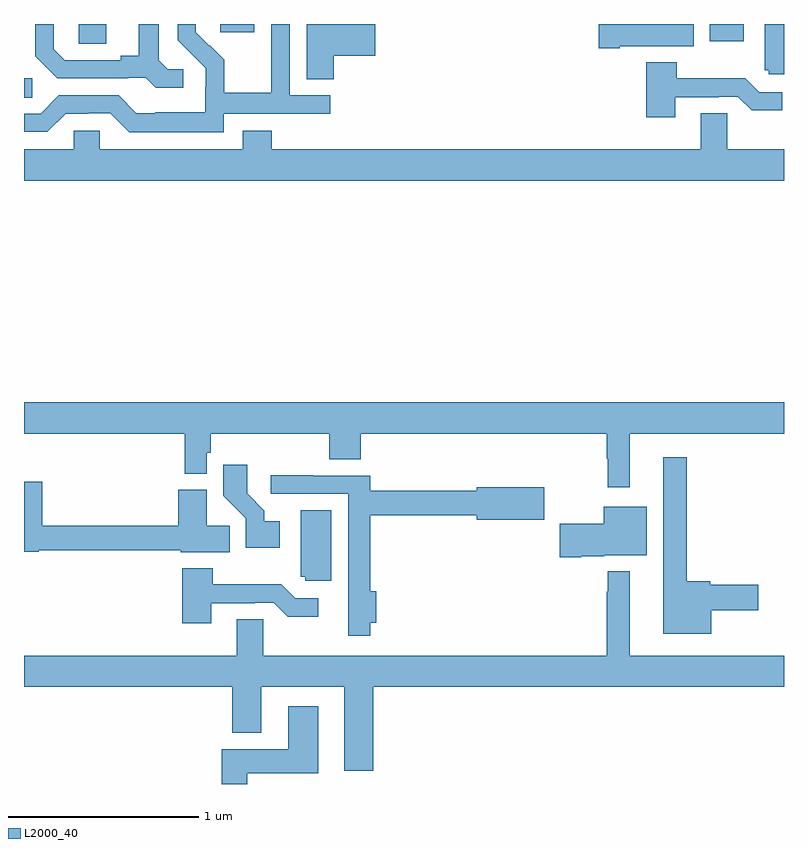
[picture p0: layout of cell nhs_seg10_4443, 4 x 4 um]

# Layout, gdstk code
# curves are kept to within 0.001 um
import gdstk
lib = gdstk.Library(unit=1e-6, precision=1e-09)
def R(c, l, rs):  # rectangles x0, y0, x1, y1
    for r in rs: c.add(gdstk.rectangle(r[:2], r[2:], *l))
def P(c, l, *ps):  # polygons
    for p in ps: c.add(gdstk.Polygon(p, *l))
L2000_40 = (2000, 40)

nhs_seg10_4443 = lib.new_cell('nhs_seg10_4443')
R(nhs_seg10_4443, L2000_40, [(363,1274.113,363.043,1274.214), (363.288,1274.395,363.433,1274.5), (366.609,1274.408,366.787,1274.5), (364.034,1274.457,364.213,1274.5)])
P(nhs_seg10_4443, L2000_40, [(364.05,1274.028),(364.612,1274.028),(364.612,1274.124),(364.398,1274.124),(364.398,1274.5),(364.302,1274.5),(364.302,1274.36),(364.3,1274.36),(364.3,1274.137),(364.055,1274.137),(364.055,1274.311),(363.978,1274.388),(363.975,1274.385),(363.905,1274.456),(363.905,1274.5),(363.81,1274.5),(363.81,1274.414),(363.956,1274.266),(363.956,1274.169),(363.954,1274.169),(363.954,1274.035),(363.691,1274.035),(363.691,1274.031),(363.591,1274.031),(363.498,1274.124),(363.183,1274.124),(363.087,1274.028),(363,1274.028),(363,1273.932),(363.123,1273.932),(363.219,1274.028),(363.338,1274.028),(363.338,1274.031),(363.453,1274.031),(363.553,1273.931),(364.05,1273.931)],
  [(366.136,1274.384),(366.524,1274.384),(366.524,1274.5),(366.024,1274.5),(366.024,1274.372),(366.136,1274.372)],
  [(367,1274.5),(366.899,1274.5),(366.899,1274.256),(366.921,1274.256),(366.921,1274.235),(367,1274.235)],
  [(364.631,1274.333),(364.849,1274.333),(364.849,1274.5),(364.487,1274.5),(364.487,1274.209),(364.631,1274.209)],
  [(363.838,1274.262),(363.756,1274.262),(363.709,1274.309),(363.709,1274.5),(363.605,1274.5),(363.605,1274.333),(363.509,1274.333),(363.509,1274.31),(363.214,1274.31),(363.157,1274.367),(363.157,1274.5),(363.06,1274.5),(363.06,1274.33),(363.176,1274.214),(363.548,1274.214),(363.548,1274.217),(363.642,1274.217),(363.694,1274.165),(363.838,1274.165)],
  [(366.427,1274.115),(366.656,1274.115),(366.656,1274.118),(366.756,1274.118),(366.829,1274.045),(366.991,1274.045),(366.991,1274.142),(366.87,1274.142),(366.797,1274.215),(366.435,1274.215),(366.435,1274.299),(366.275,1274.299),(366.275,1274.01),(366.427,1274.01)],
  [(367,1273.84),(366.702,1273.84),(366.702,1274.03),(366.563,1274.03),(366.563,1273.84),(364.304,1273.84),(364.304,1273.939),(364.151,1273.939),(364.151,1273.84),(363.399,1273.84),(363.399,1273.938),(363.261,1273.938),(363.261,1273.84),(363,1273.84),(363,1273.676),(367,1273.676)],
  [(366.187,1272.344),(367,1272.344),(367,1272.508),(363,1272.508),(363,1272.344),(363.847,1272.344),(363.847,1272.134),(363.963,1272.134),(363.963,1272.243),(363.983,1272.243),(363.983,1272.344),(364.607,1272.344),(364.607,1272.208),(364.772,1272.208),(364.772,1272.344),(366.066,1272.344),(366.066,1272.212),(366.073,1272.212),(366.073,1272.063),(366.187,1272.063)],
  [(366.616,1271.414),(366.865,1271.414),(366.865,1271.549),(366.612,1271.549),(366.612,1271.567),(366.487,1271.567),(366.487,1272.22),(366.365,1272.22),(366.365,1271.291),(366.616,1271.291)],
  [(364.345,1271.884),(364.264,1271.884),(364.264,1271.939),(364.174,1272.029),(364.174,1272.181),(364.048,1272.181),(364.048,1272.018),(364.167,1271.899),(364.167,1271.744),(364.345,1271.744)],
  [(364.823,1271.348),(364.853,1271.348),(364.853,1271.514),(364.823,1271.514),(364.823,1271.914),(365.384,1271.914),(365.384,1271.891),(365.737,1271.891),(365.737,1272.061),(365.384,1272.061),(365.384,1272.043),(364.823,1272.043),(364.823,1272.123),(364.523,1272.123),(364.523,1272.126),(364.299,1272.126),(364.299,1272.027),(364.707,1272.027),(364.707,1271.502),(364.706,1271.502),(364.706,1271.28),(364.823,1271.28)],
  [(364.082,1271.858),(363.961,1271.858),(363.961,1272.049),(363.812,1272.049),(363.812,1271.86),(363.095,1271.86),(363.095,1272.091),(363,1272.091),(363,1271.723),(363.078,1271.723),(363.078,1271.731),(363.824,1271.731),(363.824,1271.72),(364.082,1271.72)],
  [(365.932,1271.699),(366.054,1271.699),(366.054,1271.705),(366.277,1271.705),(366.277,1271.959),(366.05,1271.959),(366.05,1271.871),(365.82,1271.871),(365.82,1271.693),(365.932,1271.693)],
  [(364.618,1271.941),(364.457,1271.941),(364.457,1271.592),(364.479,1271.592),(364.479,1271.571),(364.618,1271.571)],
  [(363.985,1271.451),(364.214,1271.451),(364.214,1271.454),(364.314,1271.454),(364.387,1271.381),(364.549,1271.381),(364.549,1271.478),(364.428,1271.478),(364.355,1271.551),(363.993,1271.551),(363.993,1271.635),(363.833,1271.635),(363.833,1271.346),(363.985,1271.346)],
  [(364.838,1271.012),(367,1271.012),(367,1271.176),(366.187,1271.176),(366.187,1271.62),(366.073,1271.62),(366.073,1271.513),(366.066,1271.513),(366.066,1271.176),(364.26,1271.176),(364.26,1271.366),(364.121,1271.366),(364.121,1271.176),(363,1271.176),(363,1271.012),(364.097,1271.012),(364.097,1270.769),(364.249,1270.769),(364.249,1271.012),(364.685,1271.012),(364.685,1270.571),(364.838,1270.571)],
  [(364.174,1270.556),(364.549,1270.556),(364.549,1270.909),(364.391,1270.909),(364.391,1270.684),(364.04,1270.684),(364.04,1270.5),(364.174,1270.5)])

lib.write_gds('nhs_seg10_4443.gds')
